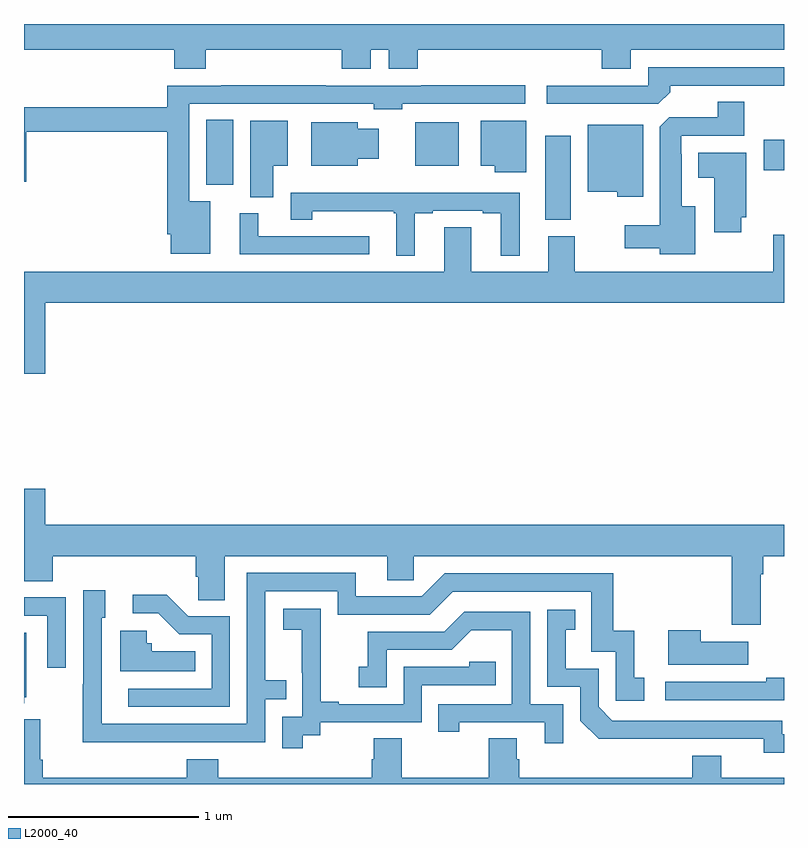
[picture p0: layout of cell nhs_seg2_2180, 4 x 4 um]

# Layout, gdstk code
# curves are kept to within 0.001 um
import gdstk
lib = gdstk.Library(unit=1e-6, precision=1e-09)
def R(c, l, rs):  # rectangles x0, y0, x1, y1
    for r in rs: c.add(gdstk.rectangle(r[:2], r[2:], *l))
def P(c, l, *ps):  # polygons
    for p in ps: c.add(gdstk.Polygon(p, *l))
L2000_40 = (2000, 40)

nhs_seg2_2180 = lib.new_cell('nhs_seg2_2180')
R(nhs_seg2_2180, L2000_40, [(227.744,618.769,227.878,619.213), (225.959,618.953,226.102,619.295), (228.894,619.03,229,619.192), (227.06,619.055,227.287,619.282)])
P(nhs_seg2_2180, L2000_40, [(225,619.664),(225.791,619.664),(225.791,619.565),(225.956,619.565),(225.956,619.664),(226.673,619.664),(226.673,619.565),(226.825,619.565),(226.825,619.664),(226.919,619.664),(226.919,619.565),(227.072,619.565),(227.072,619.664),(228.041,619.664),(228.041,619.565),(228.193,619.565),(228.193,619.664),(229,619.664),(229,619.8),(225,619.8)],
  [(228.401,619.442),(228.401,619.476),(229,619.476),(229,619.572),(228.285,619.572),(228.285,619.476),(227.751,619.476),(227.751,619.38),(228.339,619.38)],
  [(225.979,618.868),(225.87,618.868),(225.87,619.38),(226.842,619.38),(226.842,619.352),(226.992,619.352),(226.992,619.38),(227.638,619.38),(227.638,619.478),(227.092,619.478),(227.092,619.476),(226.589,619.476),(226.589,619.478),(226.039,619.478),(226.039,619.476),(225.754,619.476),(225.754,619.363),(225,619.363),(225,618.969),(225.011,618.969),(225.011,619.234),(225.754,619.234),(225.754,618.694),(225.773,618.694),(225.773,618.59),(225.979,618.59)],
  [(228.532,618.841),(228.463,618.841),(228.463,619.115),(228.459,619.115),(228.459,619.212),(228.79,619.212),(228.79,619.391),(228.65,619.391),(228.65,619.308),(228.396,619.308),(228.347,619.259),(228.347,618.742),(228.162,618.742),(228.162,618.62),(228.347,618.62),(228.347,618.587),(228.532,618.587)],
  [(227.644,619.291),(227.405,619.291),(227.405,619.055),(227.477,619.055),(227.477,619.019),(227.644,619.019)],
  [(226.312,619.055),(226.387,619.055),(226.387,619.291),(226.19,619.291),(226.19,618.889),(226.312,618.889)],
  [(226.756,619.091),(226.867,619.091),(226.867,619.249),(226.756,619.249),(226.756,619.282),(226.511,619.282),(226.511,619.055),(226.756,619.055)],
  [(228.259,619.27),(227.966,619.27),(227.966,618.917),(228.123,618.917),(228.123,618.89),(228.259,618.89)],
  [(228.775,618.783),(228.802,618.783),(228.802,619.123),(228.548,619.123),(228.548,618.992),(228.632,618.992),(228.632,618.705),(228.775,618.705)],
  [(227.056,618.804),(227.152,618.804),(227.152,618.816),(227.414,618.816),(227.414,618.804),(227.51,618.804),(227.51,618.581),(227.608,618.581),(227.608,618.913),(226.404,618.913),(226.404,618.769),(226.517,618.769),(226.517,618.815),(226.947,618.815),(226.947,618.804),(226.958,618.804),(226.958,618.581),(227.056,618.581)],
  [(226.816,618.684),(226.234,618.684),(226.234,618.804),(226.136,618.804),(226.136,618.588),(226.816,618.588)],
  [(225.112,618.332),(229,618.332),(229,618.691),(228.944,618.691),(228.944,618.496),(227.899,618.496),(227.899,618.684),(227.759,618.684),(227.759,618.496),(227.353,618.496),(227.353,618.731),(227.213,618.731),(227.213,618.496),(225,618.496),(225,617.958),(225.112,617.958)],
  [(228.877,616.904),(228.89,616.904),(228.89,617),(229,617),(229,617.164),(225.112,617.164),(225.112,617.353),(225,617.353),(225,616.867),(225.152,616.867),(225.152,617),(225.905,617),(225.905,616.891),(225.918,616.891),(225.918,616.768),(226.057,616.768),(226.057,617),(226.913,617),(226.913,616.873),(227.052,616.873),(227.052,617),(228.725,617),(228.725,616.638),(228.877,616.638)],
  [(225.773,616.02),(226.269,616.02),(226.269,616.245),(226.379,616.245),(226.379,616.346),(226.269,616.346),(226.269,616.815),(226.65,616.815),(226.65,616.692),(227.136,616.692),(227.256,616.812),(227.985,616.812),(227.985,616.497),(228.114,616.497),(228.114,616.239),(228.265,616.239),(228.265,616.359),(228.212,616.359),(228.212,616.606),(228.101,616.606),(228.101,616.908),(227.214,616.908),(227.094,616.788),(226.747,616.788),(226.747,616.911),(226.173,616.911),(226.173,616.116),(225.409,616.116),(225.408,616.674),(225.427,616.674),(225.427,616.819),(225.312,616.819),(225.312,616.325),(225.31,616.325),(225.31,616.019)],
  [(226.083,616.683),(225.864,616.683),(225.751,616.796),(225.573,616.796),(225.573,616.698),(225.707,616.698),(225.818,616.587),(225.987,616.587),(225.987,616.302),(225.549,616.302),(225.549,616.206),(226.083,616.206)],
  [(225.219,616.782),(225,616.782),(225,616.686),(225.123,616.686),(225.123,616.413),(225.219,616.413)],
  [(226.468,616.057),(226.56,616.057),(226.56,616.125),(227.094,616.125),(227.094,616.32),(227.483,616.32),(227.483,616.443),(227.343,616.443),(227.343,616.416),(226.998,616.416),(226.998,616.221),(226.657,616.221),(226.657,616.234),(226.562,616.234),(226.562,616.517),(226.563,616.517),(226.563,616.723),(226.365,616.723),(226.365,616.613),(226.463,616.613),(226.463,616.385),(226.464,616.385),(226.464,616.155),(226.359,616.155),(226.359,615.987),(226.468,615.987)],
  [(229,616.062),(228.99,616.062),(228.99,616.134),(228.096,616.134),(228.024,616.206),(228.024,616.407),(227.851,616.407),(227.851,616.611),(227.9,616.611),(227.9,616.717),(227.754,616.717),(227.754,616.311),(227.928,616.311),(227.928,616.134),(228.026,616.037),(228.894,616.038),(228.894,615.965),(229,615.965)],
  [(227.838,616.221),(227.664,616.221),(227.664,616.707),(227.318,616.707),(227.213,616.602),(226.81,616.602),(226.81,616.417),(226.761,616.417),(226.761,616.308),(226.908,616.308),(226.908,616.506),(227.25,616.506),(227.354,616.61),(227.568,616.61),(227.568,616.221),(227.179,616.221),(227.179,616.074),(227.29,616.074),(227.29,616.125),(227.741,616.125),(227.741,616.014),(227.838,616.014)],
  [(228.811,616.549),(228.563,616.549),(228.563,616.609),(228.392,616.609),(228.392,616.427),(228.811,616.427)],
  [(225.902,616.498),(225.672,616.498),(225.672,616.542),(225.645,616.542),(225.645,616.606),(225.506,616.606),(225.506,616.394),(225.902,616.394)],
  [(225.002,616.257),(225.013,616.257),(225.013,616.597),(225,616.597),(225,616.226),(225.002,616.226)],
  [(229,616.358),(228.907,616.358),(228.907,616.338),(228.375,616.338),(228.375,616.242),(229,616.242)],
  [(226.022,615.931),(225.857,615.931),(225.857,615.832),(225.098,615.832),(225.098,615.928),(225.085,615.928),(225.085,616.141),(225,616.141),(225,615.8),(229,615.8),(229,615.832),(228.67,615.832),(228.67,615.949),(228.518,615.949),(228.518,615.832),(227.606,615.832),(227.606,615.93),(227.593,615.93),(227.593,616.04),(227.446,616.04),(227.446,615.832),(226.989,615.832),(226.989,616.04),(226.841,616.04),(226.841,615.93),(226.829,615.93),(226.829,615.832),(226.022,615.832)])

lib.write_gds('nhs_seg2_2180.gds')
